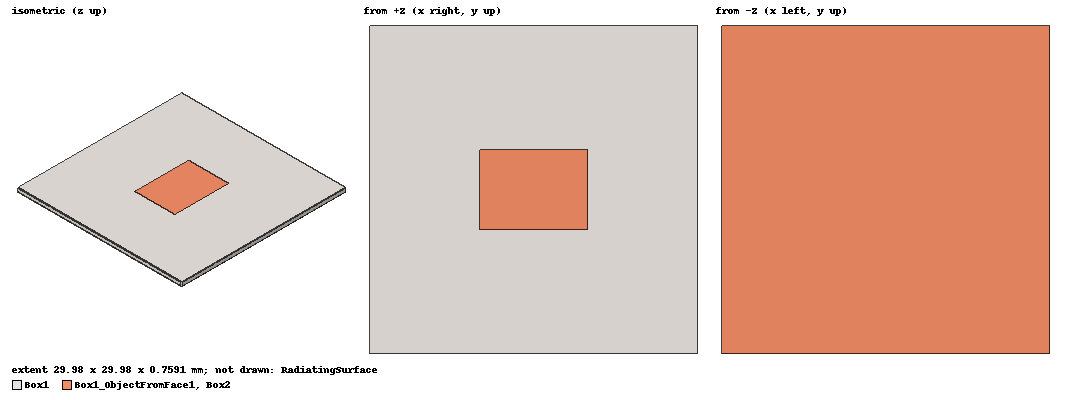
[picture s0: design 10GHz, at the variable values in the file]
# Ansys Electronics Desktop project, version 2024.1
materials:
  vacuum: permittivity=1
  Rogers RT/duroid 5880 (tm): permittivity=2.2 dielectric_loss_tangent=0.0009
  Rogers RO4003 (tm): permittivity=3.55 dielectric_loss_tangent=0.0027
  copper: permeability=0.999991 conductivity=58000000
  pec: conductivity=1e+30
  FR4_epoxy: permittivity=4.4 dielectric_loss_tangent=0.02
  Rogers RO4350 (tm): permittivity=3.66 dielectric_loss_tangent=0.004

design 10GHz (HFSS, HFSS Modal Network, model units mm)
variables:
  c = 299792458
  f0 = 10GHz
  lambda = c/f0
  SubW = lambda
  SubL = lambda
  SubTh = 0.688mm
  CuTh = 0.03556mm
  epsi_r = 3.66
  PatchW = (lambda/2)*sqrt(2/(epsi_r+1))
  PatchL = PatchWMult*lambda/2/sqrt(epsi_r)
  FeedX = 0.1mm
  FeedY = -1.7mm
  PatchWMult = 0.93
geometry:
  Box1 [Rogers RO4350 (tm)] = box(corner=(-SubW/2, -SubL/2, 0mm), size=(SubW, SubL, SubTh))
  Box1_ObjectFromFace1 [copper] = object_from(Box1.face(-z))
  Box1_ObjectFromFace1.thicken(CuTh)
  Box2 [copper] = box(corner=(-PatchW/2, -PatchL/2, SubTh), size=(PatchW, PatchL, CuTh))
  RadiatingSurface [vacuum] = region(absolute_offset=10mm on all sides)
  Rectangle1 = rectangle(corner=(-FeedX/2, FeedY, 0mm), z_size=SubTh, x_size=FeedX)
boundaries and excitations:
  Open1: Radiation Objects=RadiatingSurface
  1: Lumped Port Objects=Rectangle1 LumpedPortType=Modal Modes{Mode1{IntLine{(0, -1.7, 0) -> (0, -1.7, 0.688)} CharImp=Zpi RenormImp=50ohm}} Impedance=50ohm
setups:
  Setup1: HfssDriven Frequency=10GHz MaxDeltaS=0.02 MaximumPasses=20 MinimumPasses=1 MinimumConvergedPasses=2 PercentRefinement=30 BasisOrder=1 PortAccuracy=2 DrivenSolverType="Direct Solver"
    sweep Sweep: 5GHz to 15GHz, 401 points; Type=Interpolating InterpTolerance=0.5 InterpMaxSolns=250 InterpUsePortImped=false PassivityErrorTolerance=0.0001
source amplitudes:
  1:1: 1W 0deg
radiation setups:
  3D: Infinite Sphere Theta=0deg..180deg step 2deg Phi=-180deg..180deg step 2deg
  Elevation: Infinite Sphere Theta=-180deg..180deg step 1deg Phi=0deg..90deg step 90deg
  Azimuth: Infinite Sphere Theta=90deg..90deg step 0deg Phi=-180deg..180deg step 1deg
  Infinite Sphere1: Infinite Sphere Theta=0deg..180deg step 2deg Phi=-180deg..180deg step 2deg
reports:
  S Parameter Plot 1: dB(S(1,1)) vs Freq on Setup1 : Sweep [FeedY=all PatchWMult=all]; markers m1 at 10.025GHz, m2 at 9.9GHz, m3 at 10.175GHz, m4 at 9.925GHz
  S Parameter Plot 2: dB(S(1,1)) vs Freq on Setup1 : Sweep [FeedY=-1.7mm PatchWMult=0.93]
  Gain Plot 1: dB(GainTotal) vs Phi, Theta on Setup1 : LastAdaptive, 3D [Freq=10GHz FeedY=-1.7mm PatchWMult=0.93]
  Antenna Params Plot 1: RadiationEfficiency vs Freq on Setup1 : LastAdaptive [FeedY=all PatchWMult=all]

design 10GHz_Inset_Fed (HFSS, HFSS Modal Network, model units mm)
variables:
  c = 299792458
  f0 = 10GHz
  lambda = c/f0
  SubW = lambda
  SubL = lambda
  SubTh = 0.688mm
  CuTh = 0.03556mm
  epsi_r = 3.66
  PatchW = (lambda/2)*sqrt(2/(epsi_r+1))
  PatchL = PatchWMult*lambda/2/sqrt(epsi_r)
  FeedX = 0.1mm
  FeedY = 2.3mm
  PatchWMult = 0.97
  LineW = 7.48*SubTh/(exp(50 * (sqrt(epsi_r+1.41)/87))) - 1.25*CuTh
  Inset = FeedY
  Gap = LineW/2
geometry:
  Box1 [Rogers RO4350 (tm)] = box(corner=(-SubW/2, -SubL/2, 0mm), size=(SubW, SubL, SubTh))
  Box1_ObjectFromFace1 [copper] = object_from(Box1.face(-z))
  Box1_ObjectFromFace1.thicken(CuTh)
  Box2 [copper] = box(corner=(-PatchW/2, -PatchL/2, SubTh), size=(PatchW, PatchL, CuTh))
  RadiatingSurface [vacuum] = region(absolute_offset=10mm on all sides)
  Box3 = box(corner=(-LineW/2, -PatchL/2, SubTh), size=(LineW, -SubL/2+PatchL/2, CuTh))
  Box3_ObjectFromFace1 = object_from(Box2.face(5 of 6))
  Box3_ObjectFromFace1.thicken(Inset)
  Box3_ObjectFromFace1.move_faces(MoveAlongNormalFlag=true OffsetDistance=Gap FacesToMove=Box3_ObjectFromFace1.face(#242, #244))
  Box3.move_faces(MoveAlongNormalFlag=true OffsetDistance=Inset FacesToMove=Box2.face(5 of 6))
  Box2.subtract(Box3_ObjectFromFace1)
  Box2.unite(Box3)
  Box2_ObjectFromFace1 [pec] = object_from(Box2.face(3 of 6))
  Box2_ObjectFromFace1.thicken(0.05mm)
  Box2_ObjectFromFace1.move_faces(MoveAlongNormalFlag=true OffsetDistance=1mm FacesToMove=Box2_ObjectFromFace1.face(#357, #355))
  Box2_ObjectFromFace1.move_faces(MoveAlongNormalFlag=true OffsetDistance=SubTh*2 FacesToMove=Box2_ObjectFromFace1.face(#358))
  Box2_ObjectFromFace1.move_faces(MoveAlongNormalFlag=true OffsetDistance=SubTh FacesToMove=Box2_ObjectFromFace1.face(#356))
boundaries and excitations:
  Open1: Radiation Objects=RadiatingSurface
  1: Wave Port Faces=Box2_ObjectFromFace1.face(at (0, -14.9896, 1.04978)) WavePortType=Modal NumModes=1 Modes{Mode1{CharImp=Zpi}}
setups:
  Setup1: HfssDriven Frequency=10GHz MaxDeltaS=0.02 MaximumPasses=20 MinimumPasses=1 MinimumConvergedPasses=2 PercentRefinement=30 BasisOrder=1 PortAccuracy=2 DrivenSolverType="Direct Solver"
    sweep Sweep: 5GHz to 15GHz, 401 points; Type=Interpolating InterpTolerance=0.5 InterpMaxSolns=250 InterpUsePortImped=false PassivityErrorTolerance=0.0001
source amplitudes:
  1:1: 1W 0deg
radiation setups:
  3D: Infinite Sphere Theta=0deg..180deg step 2deg Phi=-180deg..180deg step 2deg
  Elevation: Infinite Sphere Theta=-180deg..180deg step 1deg Phi=0deg..90deg step 90deg
  Azimuth: Infinite Sphere Theta=90deg..90deg step 0deg Phi=-180deg..180deg step 1deg
  Infinite Sphere1: Infinite Sphere Theta=0deg..180deg step 2deg Phi=-180deg..180deg step 2deg
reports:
  S Parameter Plot 1: dB(S(1,1)) vs Freq on Setup1 : Sweep [FeedY=all PatchWMult=all]

design 10GHz_SIW_Inset_Fed (HFSS, HFSS Modal Network, model units mm)
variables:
  c = 299792458
  f0 = 10GHz
  lambda = c/f0
  SubW = lambda
  SubL = lambda
  SubTh = 0.688mm
  CuTh = 0.03556mm
  epsi_r = 3.66
  PatchW = (lambda/2)*sqrt(2/(epsi_r+1))
  PatchL = PatchWMult*lambda/2/sqrt(epsi_r)
  FeedX = 0.1mm
  FeedY = 2.3mm
  PatchWMult = 0.97
  LineW = 7.48*SubTh/(exp(50 * (sqrt(epsi_r+1.41)/87))) - 1.25*CuTh
  Inset = FeedY
  Gap = LineW/2
  SIWGap = 2mm
  SIWw = LineW+2mm
  GapToMicrostrip = LineW+2mm
  ViaR = 0.5mm
  Airbox = 0.1mm
  ViaGap = 1.87mm
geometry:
  Box1 [Rogers RO4350 (tm)] = box(corner=(-SubW/2, -SubL/2, 0mm), size=(SubW, SubL, SubTh))
  GND = object_from(Box1.face(-z))
  GND.thicken(CuTh)
  Patch [copper] = box(corner=(-PatchW/2, -PatchL/2, SubTh), size=(PatchW, PatchL, CuTh))
  RadiatingSurface [vacuum] = region(absolute_offset=10mm on all sides)
  Box3 = box(corner=(-LineW/2, -PatchL/2, SubTh), size=(LineW, -SubL/2+PatchL/2, CuTh))
  Box3_ObjectFromFace1 = object_from(Patch.face(5 of 6))
  Box3_ObjectFromFace1.thicken(Inset)
  Box3_ObjectFromFace1.move_faces(MoveAlongNormalFlag=true OffsetDistance=Gap FacesToMove=Box3_ObjectFromFace1.face(#242, #244))
  Box3.move_faces(MoveAlongNormalFlag=true OffsetDistance=Inset FacesToMove=Patch.face(5 of 6))
  Patch.subtract(Box3_ObjectFromFace1)
  Patch.unite(Box3)
  Box2_ObjectFromFace1 [pec] = object_from(Patch.face(3 of 6))
  Box2_ObjectFromFace1.thicken(0.05mm)
  Box2_ObjectFromFace1.move_faces(MoveAlongNormalFlag=true OffsetDistance=1mm FacesToMove=Box2_ObjectFromFace1.face(#357, #355))
  Box2_ObjectFromFace1.move_faces(MoveAlongNormalFlag=true OffsetDistance=SubTh*2 FacesToMove=Box2_ObjectFromFace1.face(#358))
  Box2_ObjectFromFace1.move_faces(MoveAlongNormalFlag=true OffsetDistance=SubTh FacesToMove=Box2_ObjectFromFace1.face(#356))
  Box4 = box(corner=(-(PatchW+SIWGap)/2, -(PatchL+SIWGap)/2, SubTh), size=(PatchW + SIWGap, PatchL + SIWGap, CuTh))
  SIW = box(corner=(-(PatchW+SIWGap+SIWw)/2, -(PatchL+SIWGap+SIWw)/2, SubTh), size=(PatchW + SIWGap + SIWw, PatchL + SIWGap + SIWw, CuTh))
  SIW.subtract(Box4)
  Box6 = box(corner=(-PatchW/2, -PatchL/2, SubTh), size=(PatchW, PatchL, CuTh))
  Box7 = box(corner=(-GapToMicrostrip/2, -PatchL/2, SubTh), size=(GapToMicrostrip, -SubL/2+PatchL/2, CuTh))
  Box3_ObjectFromFace2 = object_from(Box6.face(5 of 6))
  Box3_ObjectFromFace2.thicken(Inset)
  Box3_ObjectFromFace2.move_faces(MoveAlongNormalFlag=true OffsetDistance=Gap FacesToMove=Box3_ObjectFromFace2.face(#1053, #1055))
  Box6.subtract(Box3_ObjectFromFace2)
  Box7.move_faces(MoveAlongNormalFlag=true OffsetDistance=Inset FacesToMove=Box6.face(5 of 6))
  Box6.unite(Box7)
  SIW.subtract(Box6)
  Via_OG [copper] = cylinder(axis=Z, base_centre=(-(PatchW+Gap+SIWw-ViaR)/2, -(PatchL+Gap+SIWw-ViaR)/2, -CuTh), radius=ViaR, height=2*CuTh+SubTh)
  Via_OG_Airbox = cylinder(axis=Z, base_centre=(-(PatchW+Gap+SIWw-ViaR)/2, -(PatchL+Gap+SIWw-ViaR)/2, 0mm), radius=ViaR+Airbox, height=SubTh)
  Via_OG_1, Via_OG_2 = Via_OG.duplicate_along_line(step=(ViaGap, 0mm, 0mm), total=3)
  Via_OG_Airbox_1, Via_OG_Airbox_2 = Via_OG_Airbox.duplicate_along_line(step=(ViaGap, 0mm, 0mm), total=3)
  Via_OG_3..Via_OG_8 = Via_OG.duplicate_along_line(step=(0mm, ViaGap, 0mm), total=7)
  Via_OG_Airbox_3..Via_OG_Airbox_8 = Via_OG_Airbox.duplicate_along_line(step=(0mm, ViaGap, 0mm), total=7)
  Via_OG_8_1..Via_OG_8_7 = Via_OG_8.duplicate_along_line(step=(ViaGap, 0mm, 0mm), total=8)
  Via_OG_Airbox_8_1..Via_OG_Airbox_8_7 = Via_OG_Airbox_8.duplicate_along_line(step=(ViaGap, 0mm, 0mm), total=8)
  Via_OG_2_1 = Via_OG_2.duplicate_along_line(step=(5.9mm, 0mm, 0mm), total=2)
  Via_OG_Airbox_2_1 = Via_OG_Airbox_2.duplicate_along_line(step=(5.9mm, 0mm, 0mm), total=2)
  Via_OG_2_1_1, Via_OG_2_1_2 = Via_OG_2_1.duplicate_along_line(step=(ViaGap, 0mm, 0mm), total=3)
  Via_OG_Airbox_2_1_1, Via_OG_Airbox_2_1_2 = Via_OG_Airbox_2_1.duplicate_along_line(step=(ViaGap, 0mm, 0mm), total=3)
  Via_OG_2_1_2_1..Via_OG_2_1_2_5 = Via_OG_2_1_2.duplicate_along_line(step=(0mm, ViaGap, 0mm), total=6)
  Via_OG_Airbox_2_1_2_1..Via_OG_Airbox_2_1_2_5 = Via_OG_Airbox_2_1_2.duplicate_along_line(step=(0mm, ViaGap, 0mm), total=6)
  Box1.subtract(Via_OG_Airbox, Via_OG_Airbox_1, Via_OG_Airbox_2, Via_OG_Airbox_2_1, Via_OG_Airbox_2_1_1, Via_OG_Airbox_2_1_2, Via_OG_Airbox_2_1_2_1..Via_OG_Airbox_2_1_2_5, Via_OG_Airbox_3..Via_OG_Airbox_8, Via_OG_Airbox_8_1..Via_OG_Airbox_8_7)
  Via_OG.unite(Via_OG_1, Via_OG_2, Via_OG_2_1, Via_OG_2_1_1, Via_OG_2_1_2, Via_OG_2_1_2_1..Via_OG_2_1_2_5, Via_OG_3..Via_OG_8, Via_OG_8_1..Via_OG_8_7, GND, SIW)
  group Via = Via_OG
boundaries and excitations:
  Open1: Radiation Objects=RadiatingSurface
  1: Wave Port Faces=Box2_ObjectFromFace1.face(at (0, -14.9896, 1.04978)) WavePortType=Modal NumModes=1 Modes{Mode1{CharImp=Zpi}}
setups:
  Setup1: HfssDriven Frequency=10GHz MaxDeltaS=0.02 MaximumPasses=20 MinimumPasses=1 MinimumConvergedPasses=2 PercentRefinement=30 BasisOrder=1 PortAccuracy=2 DrivenSolverType="Direct Solver"
    sweep Sweep: 5GHz to 15GHz, 401 points; Type=Interpolating InterpTolerance=0.5 InterpMaxSolns=250 InterpUsePortImped=false PassivityErrorTolerance=0.0001
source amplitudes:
  1:1: 1W 0deg
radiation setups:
  3D: Infinite Sphere Theta=0deg..180deg step 2deg Phi=-180deg..180deg step 2deg
  Elevation: Infinite Sphere Theta=-180deg..180deg step 1deg Phi=0deg..90deg step 90deg
  Azimuth: Infinite Sphere Theta=90deg..90deg step 0deg Phi=-180deg..180deg step 1deg
  Infinite Sphere1: Infinite Sphere Theta=0deg..180deg step 2deg Phi=-180deg..180deg step 2deg
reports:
  Gain Plot 1: dB(GainTotal) vs Phi, Theta on Setup1 : LastAdaptive, 3D [Freq=10GHz]
  Gain Plot 2: dB(GainTotal) vs Theta, Phi on Setup1 : LastAdaptive, 3D [Freq=10GHz]
  S Parameter Plot 1: dB(S(1,1)) vs Freq on Setup1 : Sweep
  Port Zo Plot 1: re(Zo(1)) vs Freq on Setup1 : Sweep
  Antenna Params Plot 1: RadiationEfficiency vs Freq on Setup1 : LastAdaptive

design 10GHz_1x8_Array (HFSS, HFSS Modal Network, model units mm)
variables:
  c = 299792458
  f0 = 10GHz
  lambda = c/f0
  SubW = 2*lambda
  SubL = lambda
  SubTh = 0.688mm
  CuTh = 0.03556mm
  epsi_r = 3.66
  PatchW = 9.6242mm
  PatchL = 7.6072*PatchLMult mm
  FeedX = 0.1mm
  FeedY = 2.3mm
  LineW = 1.27097mm  # optimise 0.63485mm..1.90455mm; tune 0.63485mm..1.90455mm
  Inset = FeedY
  Gap = LineW/2
  ArrayL = lambda/2-PatchL
  Gap_NotFirst = 0
  PatchLMult = 0.9
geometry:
  Box1 = box(corner=(-SubW/2, -SubL/2, 0mm), size=(SubW, SubL, SubTh))
  Box1_ObjectFromFace1 = object_from(Subst.face(2 of 6))
  Box1_ObjectFromFace1.thicken(CuTh)
  1_Patch [copper] = box(corner=(-PatchW/2, -PatchL/2, SubTh), size=(PatchW, PatchL, CuTh))
  Box3 = box(corner=(-LineW/2, -PatchL/2, SubTh), size=(LineW, -SubL/2+PatchL/2, CuTh))
  Box3_ObjectFromFace1 = object_from(1_Patch.face(5 of 6))
  Box3_ObjectFromFace1.thicken(Inset)
  Box3_ObjectFromFace1.move_faces(MoveAlongNormalFlag=true OffsetDistance=Gap_NotFirst FacesToMove=Box3_ObjectFromFace1.face(#242, #244))
  Box3.move_faces(MoveAlongNormalFlag=true OffsetDistance=Inset FacesToMove=1_Patch.face(5 of 6))
  1_Patch.subtract(Box3_ObjectFromFace1)
  1_Patch.unite(Box3)
  Port [pec] = object_from(1_Patch.face(3 of 6))
  Port.thicken(0.05mm)
  Port.move_faces(MoveAlongNormalFlag=true OffsetDistance=1mm FacesToMove=Port.face(#357, #355))
  Port.move_faces(MoveAlongNormalFlag=true OffsetDistance=SubTh*2 FacesToMove=Port.face(#358))
  Port.move_faces(MoveAlongNormalFlag=true OffsetDistance=SubTh FacesToMove=Port.face(#356))
  Box1_1 = Box1.duplicate_along_line(step=(0mm, SubL, 0mm), total=2)
  Box1_ObjectFromFace1_1 = Box1_ObjectFromFace1.duplicate_along_line(step=(0mm, SubL, 0mm), total=2)
  Box1.unite(Box1_1)
  Box1_ObjectFromFace1_1.unite(Box1_ObjectFromFace1)
  SecondPatch = box(corner=(-PatchW/2, -PatchL/2, SubTh), size=(PatchW, PatchL, CuTh))
  SecondPatch.move(0mm, ArrayL+PatchL, 0mm)
  2_Patch = box(corner=(-LineW/2, -PatchL/2, SubTh), size=(LineW, ArrayL, CuTh))
  2_Patch.move(0mm, PatchL, 0mm)
  2_Patch.unite(SecondPatch)
  3_Patch, 4_Patch, 5_Patch, 6_Patch, 7_Patch, 8_Patch = 2_Patch.duplicate_along_line(step=(0mm, PatchL +ArrayL, 0mm), total=7)
  Subst [Rogers RO4350 (tm)], Box1_2 = Box1.duplicate_along_line(step=(0mm, SubL*1.3, 0mm), total=3)
  Subst.unite(Box1_2, Box1)
  GND [copper], Box1_ObjectFromFace1_1_1 = Box1_ObjectFromFace1_1.duplicate_along_line(step=(0mm, SubL*1.3, 0mm), total=3)
  GND.unite(Box1_ObjectFromFace1_1_1, Box1_ObjectFromFace1_1)
  RadiatingSurface [vacuum] = region(absolute_offset=10mm on all sides)
  1_Patch.unite(2_Patch, 3_Patch, 4_Patch, 5_Patch, 6_Patch, 7_Patch, 8_Patch)
  Subst.move_faces(MoveAlongNormalFlag=true OffsetDistance=50mm FacesToMove=Subst.face(6 of 6))
  GND.move_faces(MoveAlongNormalFlag=true OffsetDistance=50mm FacesToMove=GND.face(3 of 6))
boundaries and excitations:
  Open1: Radiation Objects=RadiatingSurface
  1: Wave Port Faces=Port.face(at (0, -14.9896, 1.04978)) WavePortType=Default NumModes=1 Modes{Mode1{CharImp=Zpi}}
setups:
  Setup1: HfssDriven Frequency=10GHz MaxDeltaS=0.02 MaximumPasses=20 MinimumPasses=1 MinimumConvergedPasses=2 PercentRefinement=30 BasisOrder=1 PortAccuracy=2 DrivenSolverType="Direct Solver" SaveAnyFields=false
    sweep Sweep: 8GHz to 12GHz, 401 points; Type=Interpolating SaveFields InterpTolerance=0.5 InterpMaxSolns=250 InterpUsePortImped=false PassivityErrorTolerance=0.0001
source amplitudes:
  1:1: 1W 0deg
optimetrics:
  ParametricSetup1: Parametric Sim._Setups=[Setup1]
    sweep PatchLMult: LIN 0.9 1 0.01
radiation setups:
  3D: Infinite Sphere Theta=0deg..180deg step 2deg Phi=-180deg..180deg step 2deg
  Elevation: Infinite Sphere Theta=-180deg..180deg step 1deg Phi=0deg..90deg step 90deg
  Azimuth: Infinite Sphere Theta=90deg..90deg step 0deg Phi=-180deg..180deg step 1deg
  Infinite Sphere1: Infinite Sphere Theta=0deg..180deg step 2deg Phi=-180deg..180deg step 2deg
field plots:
  Mag_Jsurf1: Jsurf over Subst.face(at (0, 78.9626, 0.688)) on Setup1 : Sweep at Freq=10GHz Phase=0deg
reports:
  S11: dB(S(1,1)) vs Freq on Setup1 : Sweep [FeedY=all]; markers m1 at 9.99GHz, m2 at 10GHz
  Gain Plot 1: dB(GainTotal) vs Phi, Theta on Setup1 : Sweep, 3D [Freq=all]
  Antenna Params Plot 1: RadiationEfficiency vs Freq on Setup1 : Sweep [LineW=all]; markers m1 at 10GHz
  Port Zo Plot 1: re(Zo(1)) vs Freq on Setup1 : Sweep [LineW=all]
  VSWR Plot 1: VSWR(1) vs Freq on Setup1 : Sweep [LineW=all]; markers m1 at 10.02GHz, m2 at 10.02GHz, m3 at 10GHz
  Gain Plot 2: dB(GainTotal) vs Theta on Setup1 : Sweep, 3D [Phi=all Freq=8GHz]
  S Parameter Plot 1: dB(S(1,1)) vs Freq on Setup1 : Sweep [PatchLMult=all]
